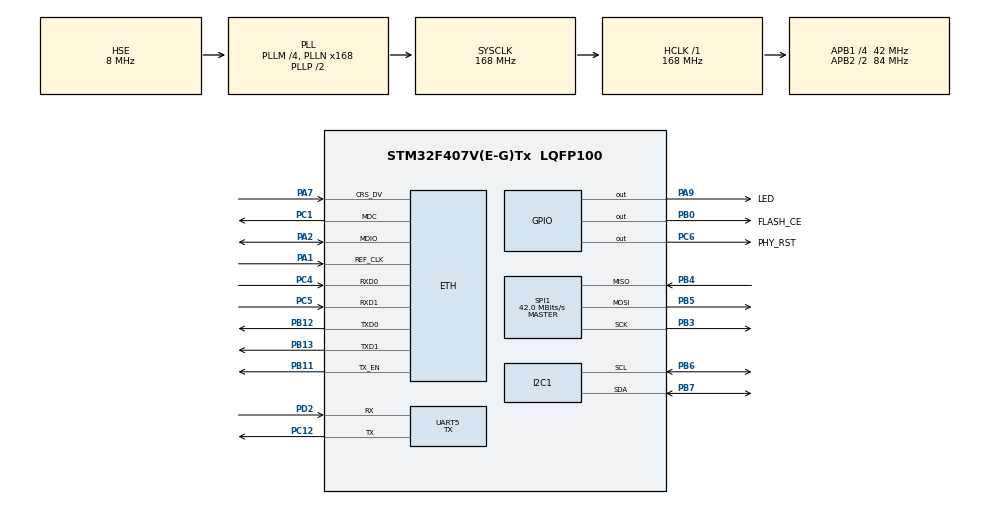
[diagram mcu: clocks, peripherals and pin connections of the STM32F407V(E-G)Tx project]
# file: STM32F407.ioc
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ETH.MediaInterface=HAL_ETH_RMII_MODE
LWIP.BSP.number=1
LWIP.LWIP_HTTPD=1
LWIP.MEM_SIZE=16380
LWIP.Version=v2.1.2_Cube
LWIP0.BSP.STBoard=false
LWIP0.BSP.api=BSP_COMPONENT_DRIVER
LWIP0.BSP.component=LAN8742
LWIP0.BSP.instance=LAN8742
LWIP0.BSP.name=Driver_PHY
LWIP0.BSP.semaphore=S_LAN8742
LWIP0.BSP.solution=LAN8742
Mcu.Family=STM32F4
Mcu.Name=STM32F407V(E-G)Tx
Mcu.Package=LQFP100
NVIC.PriorityGroup=NVIC_PRIORITYGROUP_4
PA1.Mode=RMII
PA1.Signal=ETH_REF_CLK
PA13.Mode=Serial_Wire
PA13.Signal=SYS_JTMS-SWDIO
PA14.Mode=Serial_Wire
PA14.Signal=SYS_JTCK-SWCLK
PA2.Mode=RMII
PA2.Signal=ETH_MDIO
PA7.Mode=RMII
PA7.Signal=ETH_CRS_DV
PA9.GPIO_Label=LED
PA9.Signal=GPIO_Output
PB0.GPIO_Label=FLASH_CE
PB0.Signal=GPIO_Output
PB11.Mode=RMII
PB11.Signal=ETH_TX_EN
PB12.Mode=RMII
PB12.Signal=ETH_TXD0
PB13.Mode=RMII
PB13.Signal=ETH_TXD1
PB3.Mode=Full_Duplex_Master
PB3.Signal=SPI1_SCK
PB4.Mode=Full_Duplex_Master
PB4.Signal=SPI1_MISO
PB5.Mode=Full_Duplex_Master
PB5.Signal=SPI1_MOSI
PB6.Mode=I2C
PB6.Signal=I2C1_SCL
PB7.Mode=I2C
PB7.Signal=I2C1_SDA
PC1.Mode=RMII
PC1.Signal=ETH_MDC
PC12.Mode=Asynchronous
PC12.Signal=UART5_TX
PC4.Mode=RMII
PC4.Signal=ETH_RXD0
PC5.Mode=RMII
PC5.Signal=ETH_RXD1
PC6.GPIO_Label=PHY_RST
PC6.Signal=GPIO_Output
PD2.Mode=Asynchronous
PD2.Signal=UART5_RX
PH0-OSC_IN.Mode=HSE-External-Oscillator
PH0-OSC_IN.Signal=RCC_OSC_IN
PH1-OSC_OUT.Mode=HSE-External-Oscillator
PH1-OSC_OUT.Signal=RCC_OSC_OUT
ProjectManager.HeapSize=0x200
ProjectManager.StackSize=0x400
ProjectManager.TargetToolchain=STM32CubeIDE
RCC.48MHZClocksFreq_Value=48000000
RCC.AHBFreq_Value=168000000
RCC.APB1CLKDivider=RCC_HCLK_DIV4
RCC.APB1Freq_Value=42000000
RCC.APB1TimFreq_Value=84000000
RCC.APB2CLKDivider=RCC_HCLK_DIV2
RCC.APB2Freq_Value=84000000
RCC.APB2TimFreq_Value=168000000
RCC.CortexFreq_Value=168000000
RCC.HCLKFreq_Value=168000000
RCC.HSE_VALUE=8000000
RCC.HSI_VALUE=16000000
RCC.LSE_VALUE=32768
RCC.PLLM=4
RCC.PLLN=168
RCC.PLLQ=7
RCC.PLLSourceVirtual=RCC_PLLSOURCE_HSE
RCC.SYSCLKFreq_VALUE=168000000
RCC.SYSCLKSource=RCC_SYSCLKSOURCE_PLLCLK
RCC.VCOOutputFreq_Value=336000000
SPI1.CalculateBaudRate=42.0 MBits/s
SPI1.Direction=SPI_DIRECTION_2LINES
SPI1.Mode=SPI_MODE_MASTER
SPI1.VirtualType=VM_MASTER
UART5.Mode=MODE_TX
UART5.VirtualMode=Asynchronous
VP_LWIP_VS_Enabled.Mode=Enabled
board=custom

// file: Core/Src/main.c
/* USER CODE BEGIN Header */
/**
  ******************************************************************************
  * @file           : main.c
  * @brief          : Main program body
  ******************************************************************************
  * @attention
  *
  * Copyright (c) 2026 STMicroelectronics.
  * All rights reserved.
  *
  * This software is licensed under terms that can be found in the LICENSE file
  * in the root directory of this software component.
  * If no LICENSE file comes with this software, it is provided AS-IS.
  *
  ******************************************************************************
  */
/* USER CODE END Header */
#include "main.h"
#include "lwip.h"
#include "w25q80.h"
#include "cli.h"
#include "sensor_data.h"
#include "http_server.h"
#include <stdio.h>

/* USER CODE BEGIN PD */
extern SPI_HandleTypeDef hspi1;
extern UART_HandleTypeDef huart5;
extern I2C_HandleTypeDef hi2c1;

#define BME688_I2C_ADDR_7BIT   0x77
#define BME688_I2C_ADDR_8BIT   (BME688_I2C_ADDR_7BIT << 1)  // HAL uses 8-bit form
#define BME688_REG_CHIP_ID     0xD0
#define BME688_EXPECTED_ID     0x61

/* USER CODE END PD */

I2C_HandleTypeDef hi2c1;

SPI_HandleTypeDef hspi1;

UART_HandleTypeDef huart5;

void SystemClock_Config(void);
static void MX_GPIO_Init(void);
static void MX_SPI1_Init(void);
static void MX_I2C1_Init(void);
static void MX_UART5_Init(void);

/* USER CODE BEGIN 0 */

int __io_putchar(int ch)
{
	HAL_UART_Transmit(&huart5, (uint8_t *)&ch, 1, HAL_MAX_DELAY);
	return ch;
}

int _write(int file, char *ptr, int len)
{
	HAL_UART_Transmit(&huart5, (uint8_t *)ptr, len, HAL_MAX_DELAY);
	return len;
}

void BME688_AliveTest(void) {
    HAL_StatusTypeDef s;
    uint8_t chip_id = 0;

    // 1. Is the device even on the bus?
    s = HAL_I2C_IsDeviceReady(&hi2c1, BME688_I2C_ADDR_8BIT, 3, 100);
    if (s != HAL_OK) {
        printf("BME688 not responding at 0x%02X (status=%d)\r\n",
               BME688_I2C_ADDR_7BIT, s);
        printf("  -> Check: CSB tied high? SDO tied high? Pull-ups present?\r\n");
        printf("  -> I2C1 error state: 0x%08lX\r\n", HAL_I2C_GetError(&hi2c1));
        return;
    }
    printf("BME688 responding at 0x%02X\r\n", BME688_I2C_ADDR_7BIT);

    // 2. Read chip ID register 0xD0
    s = HAL_I2C_Mem_Read(&hi2c1,
                         BME688_I2C_ADDR_8BIT,
                         BME688_REG_CHIP_ID,
                         I2C_MEMADD_SIZE_8BIT,
                         &chip_id, 1, 100);
    if (s != HAL_OK) {
        printf("Chip ID read failed (status=%d, err=0x%08lX)\r\n",
               s, HAL_I2C_GetError(&hi2c1));
        return;
    }

    printf("Chip ID: 0x%02X ", chip_id);
    if (chip_id == 0x61) {
        printf("-> BME688 confirmed\r\n");
    } else if (chip_id == 0x60) {
        printf("-> This is a BME680, not a 688\r\n");
    } else if (chip_id == 0x58) {
        printf("-> This is a BMP280 (T+P only, no humidity/gas)\r\n");
    } else if (chip_id == 0xFF || chip_id == 0x00) {
        printf("-> Invalid response, bus likely floating\r\n");
    } else {
        printf("-> Unknown chip at this address\r\n");
    }
}

/* USER CODE END 0 */

int main(void)
{

  /* MCU Configuration--------------------------------------------------------*/

  /* Reset of all peripherals, Initializes the Flash interface and the Systick. */
  HAL_Init();

  /* Configure the system clock */
  SystemClock_Config();

  /* Initialize all configured peripherals */
  MX_GPIO_Init();
  MX_SPI1_Init();
  MX_I2C1_Init();
  MX_UART5_Init();

  setvbuf(stdout, NULL, _IONBF, 0);

  /* USER CODE BEGIN SysInit */
  /* Pulse PHY reset */
  HAL_GPIO_WritePin(PHY_RST_GPIO_Port, PHY_RST_Pin, GPIO_PIN_RESET);
  HAL_Delay(10);
  HAL_GPIO_WritePin(PHY_RST_GPIO_Port, PHY_RST_Pin, GPIO_PIN_SET);
  HAL_Delay(100);
  /* USER CODE END SysInit */

  MX_LWIP_Init();

  /* USER CODE BEGIN 2 */
  Sensor_Init();
  HTTP_Server_Init();
  CLI_Init();
  /* USER CODE END 2 */

  /* Infinite loop */
  /* USER CODE BEGIN WHILE */
  uint32_t led_tick = 0;
  while (1)
  {
    /* USER CODE END WHILE */
    MX_LWIP_Process();
    CLI_Process();
    Sensor_Poll();

    if (HAL_GetTick() - led_tick >= 500) {
      HAL_GPIO_TogglePin(LED_GPIO_Port, LED_Pin);
      led_tick = HAL_GetTick();
    }

  }
}

void SystemClock_Config(void)
{
  RCC_OscInitTypeDef RCC_OscInitStruct = {0};
  RCC_ClkInitTypeDef RCC_ClkInitStruct = {0};

  /** Configure the main internal regulator output voltage
  */
  __HAL_RCC_PWR_CLK_ENABLE();
  __HAL_PWR_VOLTAGESCALING_CONFIG(PWR_REGULATOR_VOLTAGE_SCALE1);

  /** Initializes the RCC Oscillators according to the specified parameters
  * in the RCC_OscInitTypeDef structure.
  */
  RCC_OscInitStruct.OscillatorType = RCC_OSCILLATORTYPE_HSE;
  RCC_OscInitStruct.HSEState = RCC_HSE_ON;
  RCC_OscInitStruct.PLL.PLLState = RCC_PLL_ON;
  RCC_OscInitStruct.PLL.PLLSource = RCC_PLLSOURCE_HSE;
  RCC_OscInitStruct.PLL.PLLM = 4;
  RCC_OscInitStruct.PLL.PLLN = 168;
  RCC_OscInitStruct.PLL.PLLP = RCC_PLLP_DIV2;
  RCC_OscInitStruct.PLL.PLLQ = 7;
  if (HAL_RCC_OscConfig(&RCC_OscInitStruct) != HAL_OK)
  {
    Error_Handler();
  }

  /** Initializes the CPU, AHB and APB buses clocks
  */
  RCC_ClkInitStruct.ClockType = RCC_CLOCKTYPE_HCLK|RCC_CLOCKTYPE_SYSCLK
                              |RCC_CLOCKTYPE_PCLK1|RCC_CLOCKTYPE_PCLK2;
  RCC_ClkInitStruct.SYSCLKSource = RCC_SYSCLKSOURCE_PLLCLK;
  RCC_ClkInitStruct.AHBCLKDivider = RCC_SYSCLK_DIV1;
  RCC_ClkInitStruct.APB1CLKDivider = RCC_HCLK_DIV4;
  RCC_ClkInitStruct.APB2CLKDivider = RCC_HCLK_DIV2;

  if (HAL_RCC_ClockConfig(&RCC_ClkInitStruct, FLASH_LATENCY_5) != HAL_OK)
  {
    Error_Handler();
  }
}

static void MX_I2C1_Init(void)
{

  hi2c1.Instance = I2C1;
  hi2c1.Init.ClockSpeed = 100000;
  hi2c1.Init.DutyCycle = I2C_DUTYCYCLE_2;
  hi2c1.Init.OwnAddress1 = 0;
  hi2c1.Init.AddressingMode = I2C_ADDRESSINGMODE_7BIT;
  hi2c1.Init.DualAddressMode = I2C_DUALADDRESS_DISABLE;
  hi2c1.Init.OwnAddress2 = 0;
  hi2c1.Init.GeneralCallMode = I2C_GENERALCALL_DISABLE;
  hi2c1.Init.NoStretchMode = I2C_NOSTRETCH_DISABLE;
  if (HAL_I2C_Init(&hi2c1) != HAL_OK)
  {
    Error_Handler();
  }

}

static void MX_SPI1_Init(void)
{

  /* SPI1 parameter configuration*/
  hspi1.Instance = SPI1;
  hspi1.Init.Mode = SPI_MODE_MASTER;
  hspi1.Init.Direction = SPI_DIRECTION_2LINES;
  hspi1.Init.DataSize = SPI_DATASIZE_8BIT;
  hspi1.Init.CLKPolarity = SPI_POLARITY_LOW;
  hspi1.Init.CLKPhase = SPI_PHASE_1EDGE;
  hspi1.Init.NSS = SPI_NSS_SOFT;
  hspi1.Init.BaudRatePrescaler = SPI_BAUDRATEPRESCALER_2;
  hspi1.Init.FirstBit = SPI_FIRSTBIT_MSB;
  hspi1.Init.TIMode = SPI_TIMODE_DISABLE;
  hspi1.Init.CRCCalculation = SPI_CRCCALCULATION_DISABLE;
  hspi1.Init.CRCPolynomial = 10;
  if (HAL_SPI_Init(&hspi1) != HAL_OK)
  {
    Error_Handler();
  }

}

static void MX_UART5_Init(void)
{

  huart5.Instance = UART5;
  huart5.Init.BaudRate = 115200;
  huart5.Init.WordLength = UART_WORDLENGTH_8B;
  huart5.Init.StopBits = UART_STOPBITS_1;
  huart5.Init.Parity = UART_PARITY_NONE;
  huart5.Init.Mode = UART_MODE_TX_RX;
  huart5.Init.HwFlowCtl = UART_HWCONTROL_NONE;
  huart5.Init.OverSampling = UART_OVERSAMPLING_16;
  if (HAL_UART_Init(&huart5) != HAL_OK)
  {
    Error_Handler();
  }

}

static void MX_GPIO_Init(void)
{
  GPIO_InitTypeDef GPIO_InitStruct = {0};

  /* GPIO Ports Clock Enable */
  __HAL_RCC_GPIOH_CLK_ENABLE();
  __HAL_RCC_GPIOC_CLK_ENABLE();
  __HAL_RCC_GPIOA_CLK_ENABLE();
  __HAL_RCC_GPIOB_CLK_ENABLE();
  __HAL_RCC_GPIOD_CLK_ENABLE();

  /*Configure GPIO pin Output Level */
  HAL_GPIO_WritePin(FLASH_CE_GPIO_Port, FLASH_CE_Pin, GPIO_PIN_SET);

  /*Configure GPIO pin Output Level */
  HAL_GPIO_WritePin(PHY_RST_GPIO_Port, PHY_RST_Pin, GPIO_PIN_SET);

  /*Configure GPIO pin Output Level */
  HAL_GPIO_WritePin(LED_GPIO_Port, LED_Pin, GPIO_PIN_RESET);

  /*Configure GPIO pin : FLASH_CE_Pin */
  GPIO_InitStruct.Pin = FLASH_CE_Pin;
  GPIO_InitStruct.Mode = GPIO_MODE_OUTPUT_PP;
  GPIO_InitStruct.Pull = GPIO_NOPULL;
  GPIO_InitStruct.Speed = GPIO_SPEED_FREQ_LOW;
  HAL_GPIO_Init(FLASH_CE_GPIO_Port, &GPIO_InitStruct);

  /*Configure GPIO pin : PHY_RST_Pin */
  GPIO_InitStruct.Pin = PHY_RST_Pin;
  GPIO_InitStruct.Mode = GPIO_MODE_OUTPUT_PP;
  GPIO_InitStruct.Pull = GPIO_NOPULL;
  GPIO_InitStruct.Speed = GPIO_SPEED_FREQ_LOW;
  HAL_GPIO_Init(PHY_RST_GPIO_Port, &GPIO_InitStruct);

  /*Configure GPIO pin : LED_Pin */
  GPIO_InitStruct.Pin = LED_Pin;
  GPIO_InitStruct.Mode = GPIO_MODE_OUTPUT_PP;
  GPIO_InitStruct.Pull = GPIO_NOPULL;
  GPIO_InitStruct.Speed = GPIO_SPEED_FREQ_LOW;
  HAL_GPIO_Init(LED_GPIO_Port, &GPIO_InitStruct);

}

void Error_Handler(void)
{
  __disable_irq();
  while (1)
  {
  }
}
